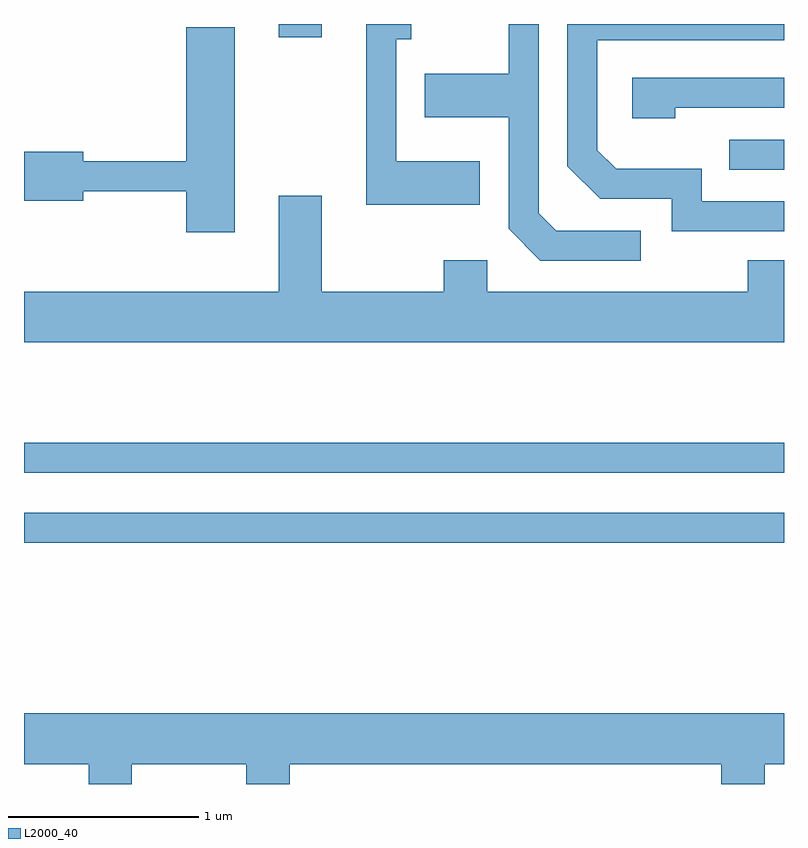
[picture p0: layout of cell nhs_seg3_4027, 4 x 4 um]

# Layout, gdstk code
import gdstk
lib = gdstk.Library(unit=1e-6, precision=1e-09)
def R(c, l, rs):  # rectangles x0, y0, x1, y1
    for r in rs: c.add(gdstk.rectangle(r[:2], r[2:], *l))
def P(c, l, *ps):  # polygons
    for p in ps: c.add(gdstk.Polygon(p, *l))
L2000_40 = (2000, 40)

nhs_seg3_4027 = lib.new_cell('nhs_seg3_4027')
R(nhs_seg3_4027, L2000_40, [(303.611,1147.161,307.611,1147.319), (303.611,1147.531,307.611,1147.689), (307.323,1149.126,307.611,1149.284), (304.951,1149.821,305.179,1149.892)])
P(nhs_seg3_4027, L2000_40, [(306.858,1148.804),(306.412,1148.804),(306.319,1148.897),(306.319,1149.892),(306.161,1149.892),(306.161,1149.629),(305.721,1149.629),(305.721,1149.401),(306.161,1149.401),(306.161,1148.814),(306.329,1148.646),(306.858,1148.646)],
  [(307.611,1148.959),(307.179,1148.959),(307.179,1149.129),(306.727,1149.129),(306.629,1149.227),(306.629,1149.806),(307.611,1149.806),(307.611,1149.892),(306.471,1149.892),(306.471,1149.144),(306.644,1148.971),(307.021,1148.971),(307.021,1148.801),(307.611,1148.801)],
  [(306.009,1149.169),(305.569,1149.169),(305.569,1149.811),(305.648,1149.811),(305.648,1149.892),(305.411,1149.892),(305.411,1148.941),(306.009,1148.941)],
  [(304.719,1149.874),(304.466,1149.874),(304.466,1149.169),(303.924,1149.169),(303.924,1149.219),(303.611,1149.219),(303.611,1148.961),(303.924,1148.961),(303.924,1149.011),(304.466,1149.011),(304.466,1148.796),(304.719,1148.796)],
  [(307.039,1149.451),(307.611,1149.451),(307.611,1149.609),(306.811,1149.609),(306.811,1149.396),(307.039,1149.396)],
  [(307.611,1148.649),(307.421,1148.649),(307.421,1148.484),(306.049,1148.484),(306.049,1148.649),(305.821,1148.649),(305.821,1148.484),(305.179,1148.484),(305.179,1148.989),(304.951,1148.989),(304.951,1148.484),(303.611,1148.484),(303.611,1148.216),(307.611,1148.216)],
  [(304.179,1145.996),(304.781,1145.996),(304.781,1145.892),(305.009,1145.892),(305.009,1145.996),(307.281,1145.996),(307.281,1145.892),(307.509,1145.892),(307.509,1145.996),(307.611,1145.996),(307.611,1146.264),(303.611,1146.264),(303.611,1145.996),(303.951,1145.996),(303.951,1145.892),(304.179,1145.892)])

lib.write_gds('nhs_seg3_4027.gds')
